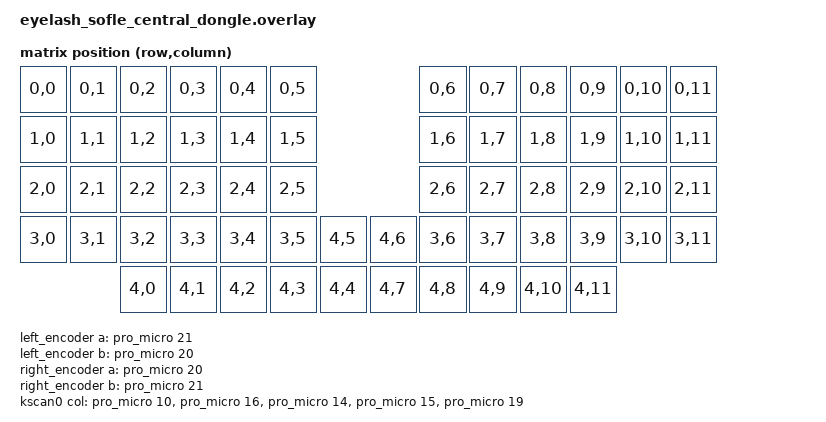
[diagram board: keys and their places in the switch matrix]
/*
*
* Copyright (c) 2021 Darryl deHaan
* SPDX-License-Identifier: MIT
*
*/

#include "eyelash_sofle.dtsi"

#include <dt-bindings/zmk/matrix_transform.h>
#include <zephyr/dt-bindings/input/input-event-codes.h>
#include <input/processors/temp_layer.dtsi>
#include <input/processors/scaler.dtsi>
#include <input/processors/code_mapper.dtsi>
#include <input/processors/xyz.dtsi>


&josefadamcik_sofle_layout {
    transform = <&default_transform>;
};

&kscan0 {
    col-gpios
        = <&pro_micro 10 GPIO_ACTIVE_HIGH>
        , <&pro_micro 16 GPIO_ACTIVE_HIGH>
        , <&pro_micro 14 GPIO_ACTIVE_HIGH>
        , <&pro_micro 15 GPIO_ACTIVE_HIGH>
        , <&pro_micro 19 GPIO_ACTIVE_HIGH>
        ;
};

/{
    chosen {
        zmk,kscan = &mock_kscan;
		zmk,physical-layout = &josefadamcik_sofle_layout;
        zephyr,display = &oled;
    };

	esb_split {
        compatible = "zmk,esb-split";
        // These are arbitrary default addresses. In end user products
        // different addresses should be used for each set of devices.
        base-addr-0 = <0xE7 0xE7 0xE7 0xE7>;
        base-addr-1 = <0xC2 0xC2 0xC2 0xC2>;
        addr-prefix = <0xE7 0xC2 0xC3 0xC4 0xC5 0xC6 0xC7 0xC8>;
    };
	
	default_transform: keymap_transform_0 {
        compatible = "zmk,matrix-transform";
        columns = <16>;
        rows = <4>;
// | SW6  | SW5  | SW4  | SW3  | SW2  | SW1  |                 | SW1  | SW2  | SW3  | SW4  | SW5  | SW6  |
// | SW12 | SW11 | SW10 | SW9  | SW8  | SW7  |                 | SW7  | SW8  | SW9  | SW10 | SW11 | SW12 |
// | SW18 | SW17 | SW16 | SW15 | SW14 | SW13 |                 | SW13 | SW14 | SW15 | SW16 | SW17 | SW18 |
// | SW24 | SW23 | SW22 | SW21 | SW20 | SW19 | SW25 |   | SW25 | SW19 | SW20 | SW21 | SW22 | SW23 | SW24 |
//               | SW30 | SW29 | SW28 | SW27 | SW26 |   | SW26 | SW27 | SW28 | SW29 | SW30 |
        map = <
RC(0,0) RC(0,1) RC(0,2) RC(0,3) RC(0,4) RC(0,5)                 RC(0,6) RC(0,7) RC(0,8)  RC(0,9) RC(0,10) RC(0,11)
RC(1,0) RC(1,1) RC(1,2) RC(1,3) RC(1,4) RC(1,5)                 RC(1,6) RC(1,7) RC(1,8)  RC(1,9) RC(1,10) RC(1,11)
RC(2,0) RC(2,1) RC(2,2) RC(2,3) RC(2,4) RC(2,5)                 RC(2,6) RC(2,7) RC(2,8)  RC(2,9) RC(2,10) RC(2,11)
RC(3,0) RC(3,1) RC(3,2) RC(3,3) RC(3,4) RC(3,5) RC(4,5) RC(4,6) RC(3,6) RC(3,7) RC(3,8)  RC(3,9) RC(3,10) RC(3,11)
                RC(4,0) RC(4,1) RC(4,2) RC(4,3) RC(4,4) RC(4,7) RC(4,8) RC(4,9) RC(4,10) RC(4,11)
        >;
    };

    mock_kscan: kscan_1 {
        compatible = "zmk,kscan-mock";
        columns = <0>;
        rows = <0>;
        events = <0>;
    };

	left_encoder: encoder_left {
        compatible = "alps,ec11";
        a-gpios = <&pro_micro 21 (GPIO_ACTIVE_HIGH | GPIO_PULL_UP)>;
        b-gpios = <&pro_micro 20 (GPIO_ACTIVE_HIGH | GPIO_PULL_UP)>;
        steps = <80>;
        status = "okay";
    };

    right_encoder: encoder_right {
        compatible = "alps,ec11";
        a-gpios = <&pro_micro 20 (GPIO_ACTIVE_HIGH | GPIO_PULL_UP)>;
        b-gpios = <&pro_micro 21 (GPIO_ACTIVE_HIGH | GPIO_PULL_UP)>;
        steps = <80>;
        status = "okay";
    };

    sensors: sensors {
        compatible = "zmk,keymap-sensors";
        sensors = <&left_encoder &right_encoder>;
        triggers-per-rotation = <20>;
    };

    /* Input split proxy - receives events from peripherals */
    split_inputs {
        #address-cells = <1>;
        #size-cells = <0>;

        trackpoint_split: trackpoint_split@0 {
            compatible = "zmk,input-split";
            reg = <0>;
        };
    };



	/* Scroll mode processor - converts XY to scroll wheel */
    zip_xy_to_scroll: zip_xy_to_scroll {
        compatible = "zmk,input-processor-code-mapper";
        #input-processor-cells = <0>;
        type = <INPUT_EV_REL>;
        map = <INPUT_REL_X INPUT_REL_HWHEEL>, <INPUT_REL_Y INPUT_REL_WHEEL>;
    };

    /* Swap X and Y axes */
    zip_xy_swap: zip_xy_swap {
        compatible = "zmk,input-processor-code-mapper";
        #input-processor-cells = <0>;
        type = <INPUT_EV_REL>;
        map = <INPUT_REL_X INPUT_REL_Y>, <INPUT_REL_Y INPUT_REL_X>;
    };
	

    /* Trackpoint listener - converts to HID mouse reports */
    trackpoint_listener: trackpoint_listener {
        compatible = "zmk,input-listener";
        status = "okay";
        device = <&trackpoint_split>;
        /* Swap axes + 2x scaling + auto mouse layer */
        /* input-processors =  <&zip_xy_swap>, <&zip_xy_scaler 2 1>,  <&zip_temp_layer 4 1000>; */
		input-processors =  <&zip_xy_swap_mapper>,  <&zip_temp_layer 4 1000>;
        /* Layer 6: Scroll mode - swap + reduced sensitivity */
        scroll {
            layers = <5>;
			/* input-processors = <&zip_xy_swap>, <&zip_xy_scaler 1 4>,  <&zip_xy_to_scroll>; */
			input-processors = <&zip_xy_swap_mapper>,  <&zip_xy_to_scroll>;
        };

};
};

&pinctrl {
    i2c0_default: i2c0_default {
        group1 {
            psels = <NRF_PSEL(TWIM_SDA, 0, 17)>,
                <NRF_PSEL(TWIM_SCL, 0, 20)>;
        };
    };

    i2c0_sleep: i2c0_sleep {
        group1 {
            psels = <NRF_PSEL(TWIM_SDA, 0,17)>,
                <NRF_PSEL(TWIM_SCL, 0, 20)>;
            low-power-enable;
        };
    };	
}; 

&i2c0 {
	status = "okay";
	compatible = "nordic,nrf-twi";
    pinctrl-0 = <&i2c0_default>;
    pinctrl-1 = <&i2c0_sleep>;
	oled: sh1106@3c {
        compatible = "sinowealth,sh1106";
        reg = <0x3c>;
        width = <129>;
        height = <64>;
        segment-offset = <1>;
        page-offset = <0>;
        display-offset = <0>;
        multiplex-ratio = <63>;
        segment-remap;
        com-invdir;
        inversion-on;
        prechargep = <0x22>;
	};
};

&timer1 {
    status = "okay";
};










